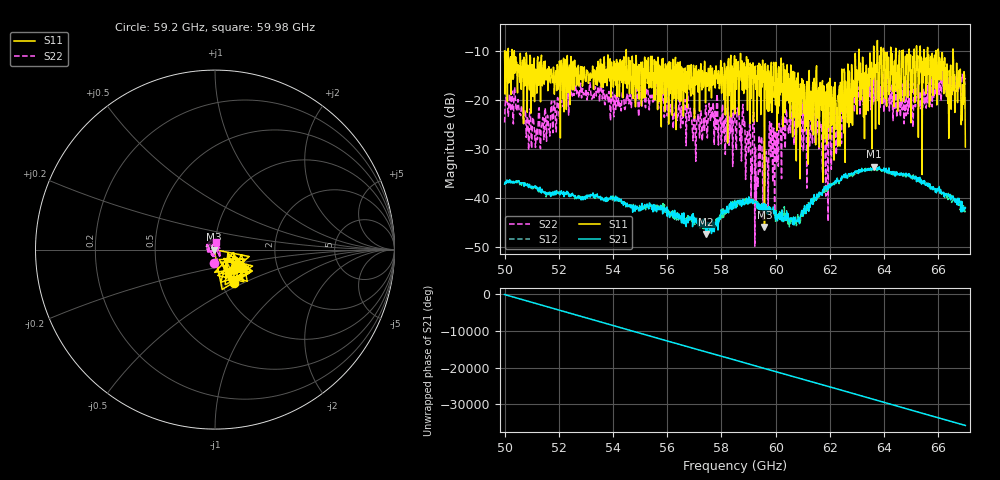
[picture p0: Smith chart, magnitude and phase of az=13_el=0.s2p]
!Created with skrf (http://scikit-rf.org).
# GHz S RI R 50.0
!freq ReS11 ImS11 ReS21 ImS21 ReS12 ImS12 ReS22 ImS22
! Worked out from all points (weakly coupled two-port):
!   1001 points, 50 GHz to 67 GHz, reference 50 ohm
!   highest |S21| = -33.62 dB at 63.63 GHz (marker M1); lowest = -47.4 dB at 57.43 GHz (marker M2)
!   lowest |S11| = -45.9 dB at 59.59 GHz (marker M3), VSWR 1.01, Z = 49.5 + j0.0174 ohm
!   |S11| at or under -10 dB: 50.27 GHz to 54.49 GHz (4.215 GHz wide, 8.05 % of centre); 54.49 GHz to 63.07 GHz (8.583 GHz wide, 14.6 % of centre); 63.07 GHz to 63.61 GHz (540 MHz wide, 0.852 % of centre) (the widest 3 of 22)
!   |S22| runs from -49.8 to -14.1 dB; largest |S21 - S12| = 0.0021
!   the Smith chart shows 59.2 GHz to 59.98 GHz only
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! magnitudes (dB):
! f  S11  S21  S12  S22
! 50 GHz  -10.1  -37.2  -37.0  -24.7
! 50.42 GHz  -14.0  -36.9  -36.5  -22.0
! 51.16 GHz  -13.9  -37.9  -38.0  -27.8
! 52.84 GHz  -14.1  -40.2  -40.3  -19.7
! 55.68 GHz  -13.3  -41.8  -41.7  -21.8
! 57.43 GHz  -16.3  -47.4  -45.2  -21.1
! 58.5 GHz  -22.9  -41.5  -40.3  -24.5
! 59.13 GHz  -15.6  -40.6  -41.0  -35.1
! 59.32 GHz  -24.4  -41.8  -42.3  -35.8
! 59.42 GHz  -14.1  -41.6  -41.3  -34.7
! 59.59 GHz  -45.9  -42.8  -42.2  -30.4
! 60.64 GHz  -14.3  -45.4  -45.2  -22.1
! 61.34 GHz  -26.2  -40.2  -40.8  -26.0
! 62 GHz  -15.6  -37.2  -37.1  -25.6
! 62.53 GHz  -13.8  -35.2  -35.3  -19.3
! 63.01 GHz  -22.9  -34.5  -34.7  -19.7
! 63.63 GHz  -12.5  -33.6  -33.9  -16.4
! 64.18 GHz  -18.9  -33.9  -34.6  -18.8
! 66.08 GHz  -15.7  -38.3  -39.1  -15.8
! 66.42 GHz  -15.6  -39.8  -40.0  -16.2
! 66.75 GHz  -17.7  -41.5  -41.2  -18.3
! 67 GHz  -29.7  -42.0  -42.0  -15.6
